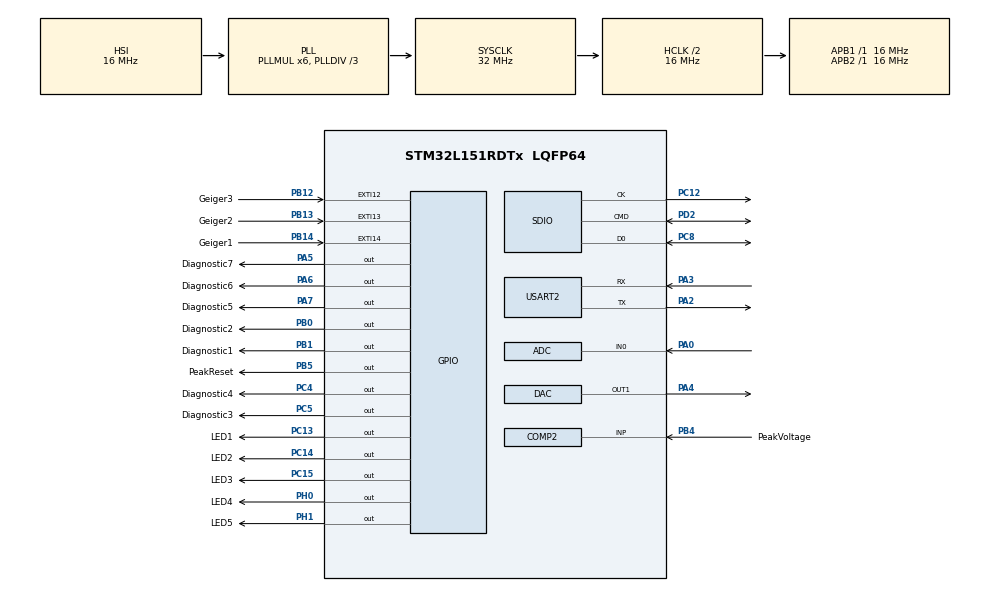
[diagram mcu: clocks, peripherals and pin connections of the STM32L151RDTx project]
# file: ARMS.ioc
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ADC.Channel-0\#ChannelRegularConversion=ADC_CHANNEL_0
ADC.ChannelsBank=ADC_CHANNELS_BANK_A
ADC.ClockPrescaler=ADC_CLOCK_ASYNC_DIV1
ADC.ContinuousConvMode=DISABLE
ADC.DMAContinuousRequests=DISABLE
ADC.DataAlign=ADC_DATAALIGN_RIGHT
ADC.DiscontinuousConvMode=DISABLE
ADC.EOCSelection=ADC_EOC_SEQ_CONV
ADC.EnableAnalogWatchDog=false
ADC.ExternalTrigConv=ADC_SOFTWARE_START
ADC.ExternalTrigConvEdge=ADC_EXTERNALTRIGCONVEDGE_NONE
ADC.InjNumberOfConversion=0
ADC.LowPowerAutoPowerOff=ADC_AUTOPOWEROFF_DISABLE
ADC.LowPowerAutoWait=ADC_AUTOWAIT_DISABLE
ADC.NbrOfConversion=1
ADC.NbrOfConversionFlag=1
ADC.Rank-0\#ChannelRegularConversion=1
ADC.Resolution=ADC_RESOLUTION_12B
ADC.SamplingTime-0\#ChannelRegularConversion=ADC_SAMPLETIME_4CYCLES
ADC.ScanConvMode=ADC_SCAN_DISABLE
COMP2.InvertingInput=COMP_INVERTINGINPUT_DAC1
COMP2.TriggerMode=COMP_TRIGGERMODE_IT_RISING
FATFS._FS_LOCK=2
FATFS._MAX_SS=4096
FATFS._USE_LFN=0
Mcu.Family=STM32L1
Mcu.Name=STM32L151RDTx
Mcu.Package=LQFP64
NVIC.COMP_IRQn=true\:0\:0\:false\:false\:true
NVIC.EXTI15_10_IRQn=true\:0\:0\:false\:false\:true
NVIC.PriorityGroup=NVIC_PRIORITYGROUP_4
NVIC.RTC_WKUP_IRQn=true\:0\:0\:false\:false\:true
PA0-WKUP1.Mode=IN0
PA0-WKUP1.Signal=ADC_IN0
PA13.Mode=Serial_Wire
PA13.Signal=SYS_JTMS-SWDIO
PA14.Mode=Serial_Wire
PA14.Signal=SYS_JTCK-SWCLK
PA2.Mode=Asynchronous
PA2.Signal=USART2_TX
PA3.Mode=Asynchronous
PA3.Signal=USART2_RX
PA4.Signal=COMP_DAC1_group
PA5.GPIO_Label=Diagnostic7
PA5.Signal=GPIO_Output
PA6.GPIO_Label=Diagnostic6
PA6.Signal=GPIO_Output
PA7.GPIO_Label=Diagnostic5
PA7.Signal=GPIO_Output
PB0.GPIO_Label=Diagnostic2
PB0.Signal=GPIO_Output
PB1.GPIO_Label=Diagnostic1
PB1.Signal=GPIO_Output
PB12.GPIO_Label=Geiger3
PB12.GPIO_ModeDefaultEXTI=GPIO_MODE_IT_FALLING
PB12.Signal=GPXTI12
PB13.GPIO_Label=Geiger2
PB13.GPIO_ModeDefaultEXTI=GPIO_MODE_IT_FALLING
PB13.Signal=GPXTI13
PB14.GPIO_Label=Geiger1
PB14.GPIO_ModeDefaultEXTI=GPIO_MODE_IT_FALLING
PB14.Signal=GPXTI14
PB4.GPIO_Label=PeakVoltage
PB4.Mode=INP
PB4.Signal=COMP2_INP
PB5.GPIO_Label=PeakReset
PB5.Signal=GPIO_Output
PC12.Mode=SD_1_bit
PC12.Signal=SDIO_CK
PC13-WKUP2.GPIO_Label=LED1
PC13-WKUP2.PinState=GPIO_PIN_SET
PC13-WKUP2.Signal=GPIO_Output
PC14-OSC32_IN.GPIO_Label=LED2
PC14-OSC32_IN.PinState=GPIO_PIN_SET
PC14-OSC32_IN.Signal=GPIO_Output
PC15-OSC32_OUT.GPIO_Label=LED3
PC15-OSC32_OUT.PinState=GPIO_PIN_SET
PC15-OSC32_OUT.Signal=GPIO_Output
PC4.GPIO_Label=Diagnostic4
PC4.Signal=GPIO_Output
PC5.GPIO_Label=Diagnostic3
PC5.Signal=GPIO_Output
PC8.Mode=SD_1_bit
PC8.Signal=SDIO_D0
PD2.Mode=SD_1_bit
PD2.Signal=SDIO_CMD
PH0-OSC_IN.GPIO_Label=LED4
PH0-OSC_IN.PinState=GPIO_PIN_SET
PH0-OSC_IN.Signal=GPIO_Output
PH1-OSC_OUT.GPIO_Label=LED5
PH1-OSC_OUT.PinState=GPIO_PIN_SET
PH1-OSC_OUT.Signal=GPIO_Output
ProjectManager.HeapSize=0x200
ProjectManager.StackSize=0x400
ProjectManager.TargetToolchain=SW4STM32
RCC.AHBCLKDivider=RCC_SYSCLK_DIV2
RCC.AHBFreq_Value=16000000
RCC.APB1Freq_Value=16000000
RCC.APB1TimFreq_Value=16000000
RCC.APB2Freq_Value=16000000
RCC.APB2TimFreq_Value=16000000
RCC.HCLKFreq_Value=16000000
RCC.HSE_VALUE=24000000
RCC.HSI_VALUE=16000000
RCC.LSE_VALUE=32768
RCC.MSI_VALUE=2097000
RCC.PLLDIV=RCC_PLL_DIV3
RCC.PLLMUL=RCC_PLL_MUL6
RCC.SYSCLKFreq_VALUE=32000000
RCC.SYSCLKSource=RCC_SYSCLKSOURCE_PLLCLK
RCC.USBOutput=48000000
RCC.VCOOutputFreq_Value=96000000
RTC.WakeUpClock-WakeUp=RTC_WAKEUPCLOCK_CK_SPRE_16BITS
RTC.WakeUpCounter-WakeUp=60
SDIO.ClockDiv=3
SH.COMP_DAC1_group.0=DAC_OUT1,DAC_OUT1
TIM7.Period=65535
TIM7.Prescaler=16
USART2.VirtualMode=VM_ASYNC
VP_COMP2_VS_DACOUT1.Mode=INM_DACOUT1
VP_FATFS_VS_SDIO.Mode=SDIO
VP_RTC_VS_RTC_Activate.Mode=RTC_Enabled
VP_RTC_VS_RTC_Calendar.Mode=RTC_Calendar
VP_RTC_VS_RTC_WakeUp_intern.Mode=WakeUp
VP_TIM7_VS_ClockSourceINT.Mode=Enable_Timer
board=ARMS

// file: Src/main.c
/**
  ******************************************************************************
  * File Name          : main.c
  * Description        : Main program body
  ******************************************************************************
  * This notice applies to any and all portions of this file
  * that are not between comment pairs USER CODE BEGIN and
  * USER CODE END. Other portions of this file, whether
  * inserted by the user or by software development tools
  * are owned by their respective copyright owners.
  *
  * Copyright (c) 2020 STMicroelectronics International N.V.
  * All rights reserved.
  *
  * Redistribution and use in source and binary forms, with or without
  * modification, are permitted, provided that the following conditions are met:
  *
  * 1. Redistribution of source code must retain the above copyright notice,
  *    this list of conditions and the following disclaimer.
  * 2. Redistributions in binary form must reproduce the above copyright notice,
  *    this list of conditions and the following disclaimer in the documentation
  *    and/or other materials provided with the distribution.
  * 3. Neither the name of STMicroelectronics nor the names of other
  *    contributors to this software may be used to endorse or promote products
  *    derived from this software without specific written permission.
  * 4. This software, including modifications and/or derivative works of this
  *    software, must execute solely and exclusively on microcontroller or
  *    microprocessor devices manufactured by or for STMicroelectronics.
  * 5. Redistribution and use of this software other than as permitted under
  *    this license is void and will automatically terminate your rights under
  *    this license.
  *
  * THIS SOFTWARE IS PROVIDED BY STMICROELECTRONICS AND CONTRIBUTORS "AS IS"
  * AND ANY EXPRESS, IMPLIED OR STATUTORY WARRANTIES, INCLUDING, BUT NOT
  * LIMITED TO, THE IMPLIED WARRANTIES OF MERCHANTABILITY, FITNESS FOR A
  * PARTICULAR PURPOSE AND NON-INFRINGEMENT OF THIRD PARTY INTELLECTUAL PROPERTY
  * RIGHTS ARE DISCLAIMED TO THE FULLEST EXTENT PERMITTED BY LAW. IN NO EVENT
  * SHALL STMICROELECTRONICS OR CONTRIBUTORS BE LIABLE FOR ANY DIRECT, INDIRECT,
  * INCIDENTAL, SPECIAL, EXEMPLARY, OR CONSEQUENTIAL DAMAGES (INCLUDING, BUT NOT
  * LIMITED TO, PROCUREMENT OF SUBSTITUTE GOODS OR SERVICES; LOSS OF USE, DATA,
  * OR PROFITS; OR BUSINESS INTERRUPTION) HOWEVER CAUSED AND ON ANY THEORY OF
  * LIABILITY, WHETHER IN CONTRACT, STRICT LIABILITY, OR TORT (INCLUDING
  * NEGLIGENCE OR OTHERWISE) ARISING IN ANY WAY OUT OF THE USE OF THIS SOFTWARE,
  * EVEN IF ADVISED OF THE POSSIBILITY OF SUCH DAMAGE.
  *
  ******************************************************************************
  */
#include "main.h"
#include "stm32l1xx_hal.h"
#include "adc.h"
#include "comp.h"
#include "dac.h"
#include "fatfs.h"
#include "rtc.h"
#include "sdio.h"
#include "tim.h"
#include "usart.h"
#include "gpio.h"

/* USER CODE BEGIN Includes */

typedef enum event_type_t_def {
	EVENT_NONE,
	EVENT_GEIGER1,
	EVENT_GEIGER2,
	EVENT_GEIGER3,
	EVENT_PHOTODIODE,
	EVENT_RTC,
} event_type_t;
/* USER CODE END Includes */

/* USER CODE BEGIN PV */
/* Private variables ---------------------------------------------------------*/

FATFS my_fatfs;
FIL my_file;
UINT my_error;

extern char SD_Path[4];

char uart_buf[256];

volatile uint8_t event_flag = 0;
volatile event_type_t event_type = EVENT_NONE;

/* USER CODE END PV */

void SystemClock_Config(void);

/* USER CODE BEGIN PFP */
/* Private function prototypes -----------------------------------------------*/

/* USER CODE END PFP */

/* USER CODE BEGIN 0 */
void HAL_GPIO_EXTI_Callback(uint16_t GPIO_Pin) {
	if (!event_flag) {
		event_flag = 1;

		if (GPIO_Pin == GPIO_PIN_12) {
			// not working now - some HW error
			//event_type = EVENT_GEIGER1;
		} else if (GPIO_Pin == GPIO_PIN_13) {
			event_type = EVENT_GEIGER2;
		} else if (GPIO_Pin == GPIO_PIN_14) {
			event_type = EVENT_GEIGER3;
		}
	}
}

void HAL_COMP_TriggerCallback(COMP_HandleTypeDef *hcomp) {
	if (hcomp == &hcomp2) {
		if (!event_flag) {
			event_flag = 1;
			event_type = EVENT_PHOTODIODE;
		}
	}
}

void HAL_RTCEx_WakeUpTimerEventCallback(RTC_HandleTypeDef *hrtc) {
	if (!event_flag) {
		event_flag = 1;
		event_type = EVENT_RTC;
	}
}

static uint16_t WriteToSD(uint8_t* buf, uint8_t len);
static void delay_us(uint16_t us);
/* USER CODE END 0 */

int main(void)
{

  /* USER CODE BEGIN 1 */
	RTC_TimeTypeDef timestamp = { 0 };
	RTC_DateTypeDef date = { 0 };
	event_type_t event_local = EVENT_NONE;
	uint32_t geiger1_counts = 0;
	uint32_t geiger2_counts = 0;
	uint32_t geiger3_counts = 0;
	uint32_t photodiode_counts = 0;
	uint32_t photodiode_val = 0;
	uint8_t uart_len = 0;
	HAL_StatusTypeDef adc_status = HAL_OK;
  /* USER CODE END 1 */

  /* MCU Configuration----------------------------------------------------------*/

  /* Reset of all peripherals, Initializes the Flash interface and the Systick. */
  HAL_Init();

  /* Configure the system clock */
  SystemClock_Config();

  /* Initialize all configured peripherals */
  MX_GPIO_Init();
  MX_SDIO_SD_Init();
  MX_RTC_Init();
  MX_FATFS_Init();
  MX_ADC_Init();
  MX_USART2_UART_Init();
  MX_DAC_Init();
  MX_COMP2_Init();
  MX_TIM7_Init();

  /* USER CODE BEGIN 2 */

	f_mount(&my_fatfs, SD_Path, 1);
	HAL_DAC_Start(&hdac, DAC_CHANNEL_1);
	HAL_DAC_SetValue(&hdac, DAC_CHANNEL_1, DAC_ALIGN_12B_R, 249); // 249 - ~~200mV~
	HAL_COMP_Start_IT(&hcomp2);
	RTC_SetCompilationTime();

	HAL_RTC_GetTime(&hrtc, &timestamp, RTC_FORMAT_BIN);
	HAL_RTC_GetDate(&hrtc, &date, RTC_FORMAT_BCD);
	uart_len = sprintf(uart_buf, "%d:%d:%d, RESET\r\n", timestamp.Hours,
			timestamp.Minutes, timestamp.Seconds);
	HAL_UART_Transmit_IT(&huart2, (uint8_t*) uart_buf, uart_len);
	WriteToSD((uint8_t*) uart_buf, uart_len);

  /* USER CODE END 2 */

  /* Infinite loop */
	while (1) {

  /* USER CODE BEGIN 3 */
		if (event_flag) {
			event_local = event_type;
			event_flag = 0;
			switch (event_local) {
			case EVENT_GEIGER1:
				geiger1_counts++;
				HAL_Delay(1);
				// write to uart
				break;
			case EVENT_GEIGER2:
				geiger2_counts++;
				HAL_Delay(1);
				HAL_GPIO_TogglePin(LED5_GPIO_Port, LED5_Pin);
				break;
			case EVENT_GEIGER3:
				geiger3_counts++;
				HAL_Delay(1);
				HAL_GPIO_TogglePin(LED5_GPIO_Port, LED5_Pin);
				break;
			case EVENT_PHOTODIODE:
				photodiode_counts++;
				HAL_GPIO_TogglePin(LED4_GPIO_Port, LED4_Pin);
				// wait and measure voltage
				HAL_Delay(1);
				HAL_ADC_Start(&hadc);
				adc_status = HAL_ADC_PollForConversion(&hadc, 100);

				if (adc_status == HAL_OK) {
					photodiode_val = HAL_ADC_GetValue(&hadc);
				}

				// reset peak detector
				HAL_GPIO_WritePin(PeakReset_GPIO_Port, PeakReset_Pin,
						GPIO_PIN_SET);
				HAL_Delay(1);
				HAL_GPIO_WritePin(PeakReset_GPIO_Port, PeakReset_Pin,
						GPIO_PIN_RESET);
				// write to uart & SD card
				HAL_RTC_GetTime(&hrtc, &timestamp, RTC_FORMAT_BIN);
				HAL_RTC_GetDate(&hrtc, &date, RTC_FORMAT_BCD);
				uart_len = sprintf(uart_buf, "%d:%d:%d, PHOTODIODE, %lu\r\n",
						timestamp.Hours, timestamp.Minutes, timestamp.Seconds,
						photodiode_val);
				HAL_UART_Transmit_IT(&huart2, (uint8_t*) uart_buf, uart_len);
				WriteToSD((uint8_t*) uart_buf, uart_len);

				break;
			case EVENT_RTC:
				HAL_GPIO_TogglePin(LED1_GPIO_Port, LED1_Pin);
				// write number of counts to SD card
				HAL_RTC_GetTime(&hrtc, &timestamp, RTC_FORMAT_BIN);
				HAL_RTC_GetDate(&hrtc, &date, RTC_FORMAT_BCD);
				uart_len =
						sprintf(uart_buf,
								"%d:%d:%d, GEIGER1: %lu, GEIGER2: %lu, GEIGER3: %lu\r\n",
								timestamp.Hours, timestamp.Minutes,
								timestamp.Seconds, geiger1_counts,
								geiger2_counts, geiger3_counts);
				HAL_UART_Transmit_IT(&huart2, (uint8_t*) uart_buf, uart_len);
				WriteToSD((uint8_t*) uart_buf, uart_len);
				geiger1_counts = 0;
				geiger2_counts = 0;
				geiger3_counts = 0;
				break;
			case EVENT_NONE:
			default:
				// do nothing
				break;
			}
		}
		// todo: go to sleep here
	}
  /* USER CODE END 3 */

}

/** System Clock Configuration
*/
void SystemClock_Config(void)
{

  RCC_OscInitTypeDef RCC_OscInitStruct;
  RCC_ClkInitTypeDef RCC_ClkInitStruct;
  RCC_PeriphCLKInitTypeDef PeriphClkInit;

    /**Configure the main internal regulator output voltage
    */
  __HAL_PWR_VOLTAGESCALING_CONFIG(PWR_REGULATOR_VOLTAGE_SCALE1);

    /**Initializes the CPU, AHB and APB busses clocks
    */
  RCC_OscInitStruct.OscillatorType = RCC_OSCILLATORTYPE_HSI|RCC_OSCILLATORTYPE_LSI;
  RCC_OscInitStruct.HSIState = RCC_HSI_ON;
  RCC_OscInitStruct.HSICalibrationValue = 16;
  RCC_OscInitStruct.LSIState = RCC_LSI_ON;
  RCC_OscInitStruct.PLL.PLLState = RCC_PLL_ON;
  RCC_OscInitStruct.PLL.PLLSource = RCC_PLLSOURCE_HSI;
  RCC_OscInitStruct.PLL.PLLMUL = RCC_PLL_MUL6;
  RCC_OscInitStruct.PLL.PLLDIV = RCC_PLL_DIV3;
  if (HAL_RCC_OscConfig(&RCC_OscInitStruct) != HAL_OK)
  {
    _Error_Handler(__FILE__, __LINE__);
  }

    /**Initializes the CPU, AHB and APB busses clocks
    */
  RCC_ClkInitStruct.ClockType = RCC_CLOCKTYPE_HCLK|RCC_CLOCKTYPE_SYSCLK
                              |RCC_CLOCKTYPE_PCLK1|RCC_CLOCKTYPE_PCLK2;
  RCC_ClkInitStruct.SYSCLKSource = RCC_SYSCLKSOURCE_PLLCLK;
  RCC_ClkInitStruct.AHBCLKDivider = RCC_SYSCLK_DIV2;
  RCC_ClkInitStruct.APB1CLKDivider = RCC_HCLK_DIV1;
  RCC_ClkInitStruct.APB2CLKDivider = RCC_HCLK_DIV1;

  if (HAL_RCC_ClockConfig(&RCC_ClkInitStruct, FLASH_LATENCY_0) != HAL_OK)
  {
    _Error_Handler(__FILE__, __LINE__);
  }

  PeriphClkInit.PeriphClockSelection = RCC_PERIPHCLK_RTC;
  PeriphClkInit.RTCClockSelection = RCC_RTCCLKSOURCE_LSI;
  if (HAL_RCCEx_PeriphCLKConfig(&PeriphClkInit) != HAL_OK)
  {
    _Error_Handler(__FILE__, __LINE__);
  }

    /**Configure the Systick interrupt time
    */
  HAL_SYSTICK_Config(HAL_RCC_GetHCLKFreq()/1000);

    /**Configure the Systick
    */
  HAL_SYSTICK_CLKSourceConfig(SYSTICK_CLKSOURCE_HCLK);

  /* SysTick_IRQn interrupt configuration */
  HAL_NVIC_SetPriority(SysTick_IRQn, 0, 0);
}

/* USER CODE BEGIN 4 */
static uint16_t WriteToSD(uint8_t* buf, uint8_t len) {
	char my_file_name[20];
	static uint8_t datalogNum = 0;
	uint16_t returnCode = 0;
	FRESULT fresult;
	uint32_t fileSize;

	memset(my_file_name, ' ', sizeof(my_file_name));
	sprintf(my_file_name, "ARMS_%d.txt", datalogNum);
	fresult = f_open(&my_file, my_file_name, FA_WRITE | FA_OPEN_ALWAYS);
	fileSize = f_size(&my_file);
	fresult = f_close(&my_file);
	if (fileSize > 1000000) {
		datalogNum++;
		sprintf(my_file_name, "datalog%d.txt", datalogNum);
		// reset file object
		memset(&my_file, 0x00, sizeof(my_file));
		fileSize = 0;
	}
	fresult = f_open(&my_file, my_file_name, FA_WRITE | FA_OPEN_ALWAYS);
	if (fresult == FR_OK) {
		fresult = f_lseek(&my_file, fileSize);
		fresult = f_write(&my_file, buf, len, &my_error);
		if (fresult == FR_OK) {
			fresult = f_close(&my_file);
			if (fresult != FR_OK) {
				returnCode = 1;
			}
		} else {
			returnCode = 1;
		}
	} else {
		returnCode = 1;
	}
	return returnCode;
}

static void delay_us(uint16_t us) {
	__HAL_TIM_SET_COUNTER(&htim7, 0);
	__HAL_TIM_ENABLE(&htim7);
	while (__HAL_TIM_GET_COUNTER(&htim7) <= us)
		;
	__HAL_TIM_DISABLE(&htim7);
}
/* USER CODE END 4 */

void _Error_Handler(char * file, int line)
{
	while (1) {
	}
}

/************************ (C) COPYRIGHT STMicroelectronics *****END OF FILE****/
